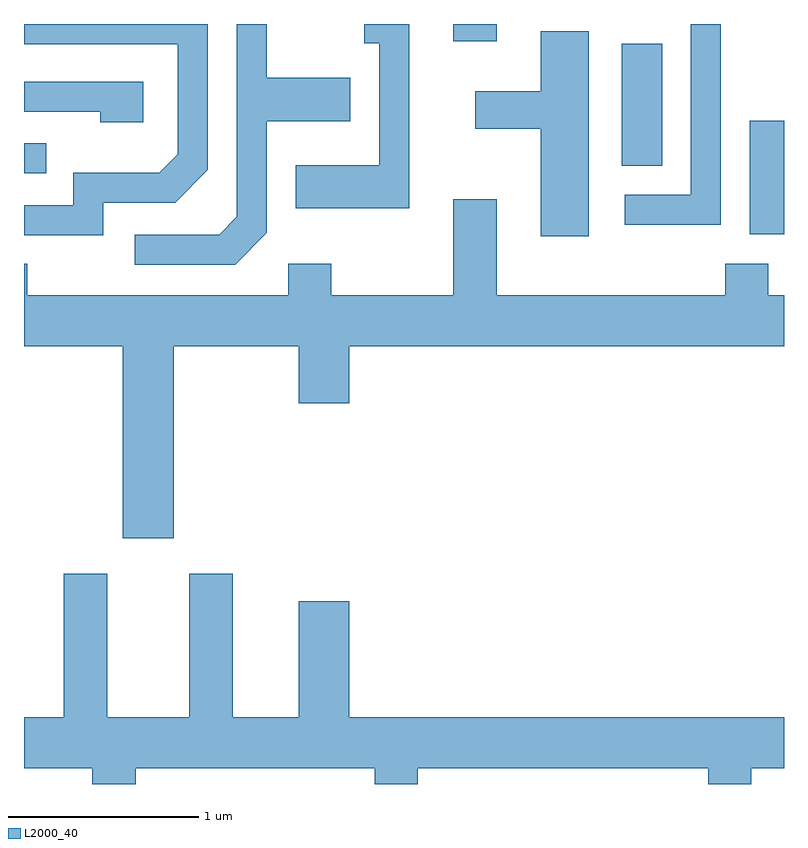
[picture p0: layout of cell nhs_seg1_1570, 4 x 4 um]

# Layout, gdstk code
import gdstk
lib = gdstk.Library(unit=1e-6, precision=1e-09)
def R(c, l, rs):  # rectangles x0, y0, x1, y1
    for r in rs: c.add(gdstk.rectangle(r[:2], r[2:], *l))
def P(c, l, *ps):  # polygons
    for p in ps: c.add(gdstk.Polygon(p, *l))
L2000_40 = (2000, 40)

nhs_seg1_1570 = lib.new_cell('nhs_seg1_1570')
R(nhs_seg1_1570, L2000_40, [(237.431,904.606,237.611,905.204), (233.611,904.926,233.728,905.084), (236.756,904.966,236.969,905.609), (235.871,905.621,236.099,905.712)])
P(nhs_seg1_1570, L2000_40, [(234.889,904.614),(234.889,905.201),(235.329,905.201),(235.329,905.429),(234.889,905.429),(234.889,905.712),(234.731,905.712),(234.731,904.697),(234.639,904.604),(234.193,904.604),(234.193,904.446),(234.722,904.446)],
  [(234.029,904.771),(234.407,904.771),(234.579,904.944),(234.579,905.712),(233.611,905.712),(233.611,905.606),(234.421,905.606),(234.421,905.027),(234.324,904.929),(233.871,904.929),(233.871,904.759),(233.611,904.759),(233.611,904.601),(234.029,904.601)],
  [(237.279,905.712),(237.121,905.712),(237.121,904.814),(236.773,904.814),(236.773,904.656),(237.279,904.656)],
  [(235.639,905.712),(235.403,905.712),(235.403,905.611),(235.481,905.611),(235.481,904.969),(235.041,904.969),(235.041,904.741),(235.639,904.741)],
  [(236.584,905.674),(236.331,905.674),(236.331,905.359),(235.986,905.359),(235.986,905.161),(236.331,905.161),(236.331,904.596),(236.584,904.596)],
  [(234.239,905.409),(233.611,905.409),(233.611,905.251),(234.011,905.251),(234.011,905.196),(234.239,905.196)],
  [(234.399,904.016),(235.056,904.016),(235.056,903.716),(235.324,903.716),(235.324,904.016),(237.611,904.016),(237.611,904.284),(237.529,904.284),(237.529,904.449),(237.301,904.449),(237.301,904.284),(236.099,904.284),(236.099,904.789),(235.871,904.789),(235.871,904.284),(235.229,904.284),(235.229,904.449),(235.001,904.449),(235.001,904.284),(233.629,904.284),(233.629,904.449),(233.611,904.449),(233.611,904.016),(234.131,904.016),(234.131,903.006),(234.399,903.006)],
  [(235.324,902.674),(235.056,902.674),(235.056,902.064),(234.709,902.064),(234.709,902.819),(234.481,902.819),(234.481,902.064),(234.049,902.064),(234.049,902.819),(233.821,902.819),(233.821,902.064),(233.611,902.064),(233.611,901.796),(233.971,901.796),(233.971,901.712),(234.199,901.712),(234.199,901.796),(235.456,901.796),(235.456,901.712),(235.684,901.712),(235.684,901.796),(237.211,901.796),(237.211,901.712),(237.439,901.712),(237.439,901.796),(237.611,901.796),(237.611,902.064),(235.324,902.064)])

lib.write_gds('nhs_seg1_1570.gds')
